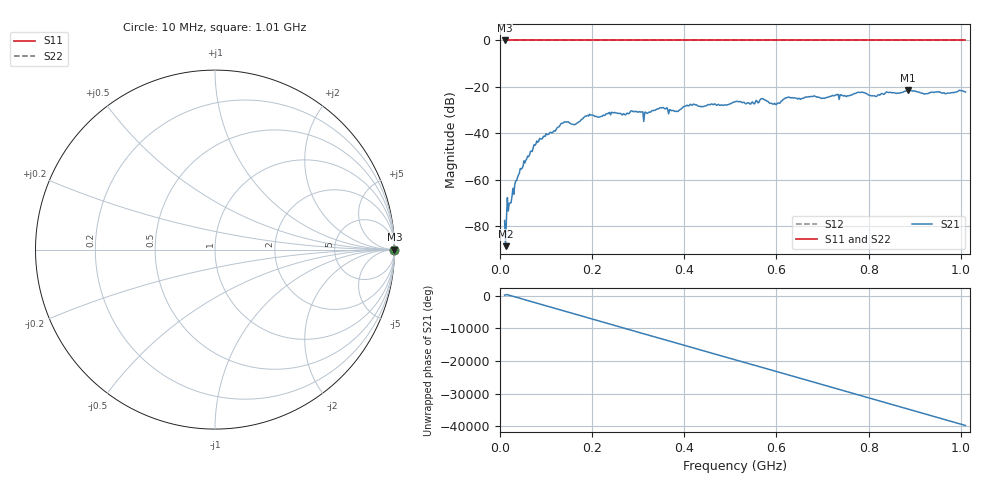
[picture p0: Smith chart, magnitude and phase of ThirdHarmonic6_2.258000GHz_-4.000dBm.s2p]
! 8/17/2025 2:45:50 AM
! C:\ANRITSUVNA\TEMP\TEMP.S2P
! CHANNEL.1
! TR.MEASUREMENT
! RAW.DATA
! RF.CORRECTION.OFF
! AVERAGING.OFF
! IF.BANDWIDTH: 5KHZ
! SWEEPTYPE:  FREQ.SWEEP(Linear)
! Reference Plane Port Info
! PORT:  PORT1  PORT2
! DISTANCE:  0  m  0  m
! TIME:  0  s  0  s
! PHASE.OFFSET:  0  deg.  0  deg.
! LOSS:  0  dB  0  dB
! REF.LOSS:  0  dB  0  dB
! REF.FREQ:  0  Hz  0  Hz
! Power Info
! POWER:  -20  dBm  -20  dBm
! EFF.POWER:  -20  dBm  -20  dBm
! SOURCE.ATTEN:  0  dB  0  dB
! TEST.ATTEN:  0  dB  0  dB
# GHZ S RI R 50.0
! FREQ.GHZ  S11RE  S11IM  S21RE  S21IM  S12RE  S12IM  S22RE  S22IM
!; PortSelection: Port_12
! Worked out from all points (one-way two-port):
!   501 points, 10 MHz to 1.01 GHz, reference 50 ohm
!   highest |S21| = -21.39 dB at 886 MHz (marker M1); lowest = -88.6 dB at 12 MHz (marker M2)
!   lowest |S11| = 0.0 dB at 10 MHz (marker M3)
!   |S11| at or under -10 dB: nowhere
!   |S22| runs from 0.0 to 0.0 dB; largest |S21 - S12| = 1.1
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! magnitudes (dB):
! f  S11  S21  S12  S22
! 10 MHz  0.0  -77.5  0.0  0.0
! 12 MHz  0.0  -88.6  0.0  0.0
! 42 MHz  0.0  -57.1  0.0  0.0
! 76 MHz  0.0  -45.1  0.0  0.0
! 136 MHz  0.0  -35.6  0.0  0.0
! 162 MHz  0.0  -36.3  0.0  0.0
! 178 MHz  0.0  -33.9  0.0  0.0
! 246 MHz  0.0  -31.2  0.0  0.0
! 316 MHz  0.0  -30.8  0.0  0.0
! 344 MHz  0.0  -29.5  0.0  0.0
! 384 MHz  0.0  -30.6  0.0  0.0
! 416 MHz  0.0  -27.9  0.0  0.0
! 510 MHz  0.0  -26.4  0.0  0.0
! 548 MHz  0.0  -26.5  0.0  0.0
! 570 MHz  0.0  -25.0  0.0  0.0
! 596 MHz  0.0  -27.0  0.0  0.0
! 624 MHz  0.0  -24.5  0.0  0.0
! 678 MHz  0.0  -24.2  0.0  0.0
! 814 MHz  0.0  -23.9  0.0  0.0
! 844 MHz  0.0  -22.4  0.0  0.0
! 886 MHz  0.0  -21.4  0.0  0.0
! 1.01 GHz  0.0  -22.2  0.0  0.0
